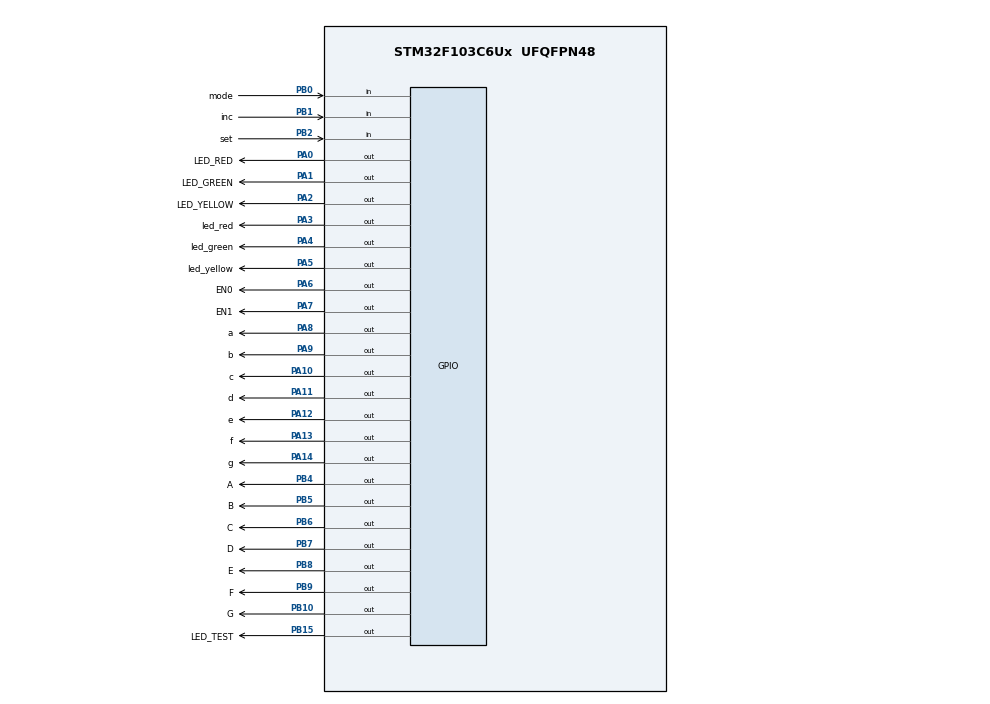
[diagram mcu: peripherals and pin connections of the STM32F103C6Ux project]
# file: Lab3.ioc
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Mcu.Family=STM32F1
Mcu.Name=STM32F103C6Ux
Mcu.Package=UFQFPN48
NVIC.PriorityGroup=NVIC_PRIORITYGROUP_4
NVIC.TIM2_IRQn=true\:0\:0\:false\:false\:true\:true\:true
PA0-WKUP.GPIO_Label=LED_RED
PA0-WKUP.Signal=GPIO_Output
PA1.GPIO_Label=LED_GREEN
PA1.Signal=GPIO_Output
PA10.GPIO_Label=c
PA10.Signal=GPIO_Output
PA11.GPIO_Label=d
PA11.Signal=GPIO_Output
PA12.GPIO_Label=e
PA12.Signal=GPIO_Output
PA13.GPIO_Label=f
PA13.Signal=GPIO_Output
PA14.GPIO_Label=g
PA14.Signal=GPIO_Output
PA2.GPIO_Label=LED_YELLOW
PA2.Signal=GPIO_Output
PA3.GPIO_Label=led_red
PA3.Signal=GPIO_Output
PA4.GPIO_Label=led_green
PA4.Signal=GPIO_Output
PA5.GPIO_Label=led_yellow
PA5.Signal=GPIO_Output
PA6.GPIO_Label=EN0
PA6.Signal=GPIO_Output
PA7.GPIO_Label=EN1
PA7.Signal=GPIO_Output
PA8.GPIO_Label=a
PA8.Signal=GPIO_Output
PA9.GPIO_Label=b
PA9.Signal=GPIO_Output
PB0.GPIO_Label=mode
PB0.GPIO_PuPd=GPIO_PULLUP
PB0.Signal=GPIO_Input
PB1.GPIO_Label=inc
PB1.GPIO_PuPd=GPIO_PULLUP
PB1.Signal=GPIO_Input
PB10.GPIO_Label=G
PB10.Signal=GPIO_Output
PB15.GPIO_Label=LED_TEST
PB15.Signal=GPIO_Output
PB2.GPIO_Label=set
PB2.GPIO_PuPd=GPIO_PULLUP
PB2.Signal=GPIO_Input
PB4.GPIO_Label=A
PB4.Signal=GPIO_Output
PB5.GPIO_Label=B
PB5.Signal=GPIO_Output
PB6.GPIO_Label=C
PB6.Signal=GPIO_Output
PB7.GPIO_Label=D
PB7.Signal=GPIO_Output
PB8.GPIO_Label=E
PB8.Signal=GPIO_Output
PB9.GPIO_Label=F
PB9.Signal=GPIO_Output
ProjectManager.HeapSize=0x200
ProjectManager.StackSize=0x400
ProjectManager.TargetToolchain=STM32CubeIDE
RCC.APB1Freq_Value=8000000
RCC.APB2Freq_Value=8000000
TIM2.Period=9
TIM2.Prescaler=7999
VP_SYS_VS_ND.Mode=No_Debug
VP_TIM2_VS_ClockSourceINT.Mode=Internal
board=custom

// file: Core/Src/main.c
/* USER CODE BEGIN Header */
/**
  ******************************************************************************
  * @file           : main.c
  * @brief          : Main program body
  ******************************************************************************
  * @attention
  *
  * <h2><center>&copy; Copyright (c) 2022 STMicroelectronics.
  * All rights reserved.</center></h2>
  *
  * This software component is licensed by ST under BSD 3-Clause license,
  * the "License"; You may not use this file except in compliance with the
  * License. You may obtain a copy of the License at:
  *                        opensource.org/licenses/BSD-3-Clause
  *
  ******************************************************************************
  */
/* USER CODE END Header */
#include "main.h"

TIM_HandleTypeDef htim2;

void SystemClock_Config(void);
static void MX_GPIO_Init(void);
static void MX_TIM2_Init(void);

int main(void)
{

  /* MCU Configuration--------------------------------------------------------*/

  /* Reset of all peripherals, Initializes the Flash interface and the Systick. */
  HAL_Init();

  /* Configure the system clock */
  SystemClock_Config();

  /* Initialize all configured peripherals */
  MX_GPIO_Init();
  MX_TIM2_Init();
  /* USER CODE BEGIN 2 */
  HAL_TIM_Base_Start_IT(&htim2);
  setTimer(50);
  setSide(50);
  setCount(50);
  setCount2(50);
  /* USER CODE END 2 */

  /* Infinite loop */
  /* USER CODE BEGIN WHILE */
  while (1)
  {
	  fsm_run();
	  segment();
	  auto1_run();
	  auto2_run();
//	  if(timer_flag==1)
//	  {
//		  HAL_GPIO_TogglePin(GPIOB, LED_TEST_Pin);
//		  setTimer(100);
//	  }
/*	  getMODEInput();
	  getINCInput();
	  getSETInput();
	  if(mode_flag==1)
	  {
		  HAL_GPIO_TogglePin(GPIOB, LED_TEST_Pin);
		  mode_flag=0;
	  }
	  if(inc_flag==1)
	  {
		  HAL_GPIO_TogglePin(GPIOB, LED_TEST_Pin);
		  display7SEG_u(num++);
		  inc_flag=0;
	  }
	  if(set_flag==1)
	  {
		  HAL_GPIO_TogglePin(GPIOB, LED_TEST_Pin);
		  set_flag=0;
	  }*/
	 // display7SEG_t(2);
    /* USER CODE END WHILE */

  }
}

void SystemClock_Config(void)
{
  RCC_OscInitTypeDef RCC_OscInitStruct = {0};
  RCC_ClkInitTypeDef RCC_ClkInitStruct = {0};

  /** Initializes the RCC Oscillators according to the specified parameters
  * in the RCC_OscInitTypeDef structure.
  */
  RCC_OscInitStruct.OscillatorType = RCC_OSCILLATORTYPE_HSI;
  RCC_OscInitStruct.HSIState = RCC_HSI_ON;
  RCC_OscInitStruct.HSICalibrationValue = RCC_HSICALIBRATION_DEFAULT;
  RCC_OscInitStruct.PLL.PLLState = RCC_PLL_NONE;
  if (HAL_RCC_OscConfig(&RCC_OscInitStruct) != HAL_OK)
  {
    Error_Handler();
  }
  /** Initializes the CPU, AHB and APB buses clocks
  */
  RCC_ClkInitStruct.ClockType = RCC_CLOCKTYPE_HCLK|RCC_CLOCKTYPE_SYSCLK
                              |RCC_CLOCKTYPE_PCLK1|RCC_CLOCKTYPE_PCLK2;
  RCC_ClkInitStruct.SYSCLKSource = RCC_SYSCLKSOURCE_HSI;
  RCC_ClkInitStruct.AHBCLKDivider = RCC_SYSCLK_DIV1;
  RCC_ClkInitStruct.APB1CLKDivider = RCC_HCLK_DIV1;
  RCC_ClkInitStruct.APB2CLKDivider = RCC_HCLK_DIV1;

  if (HAL_RCC_ClockConfig(&RCC_ClkInitStruct, FLASH_LATENCY_0) != HAL_OK)
  {
    Error_Handler();
  }
}

static void MX_TIM2_Init(void)
{

  TIM_ClockConfigTypeDef sClockSourceConfig = {0};
  TIM_MasterConfigTypeDef sMasterConfig = {0};

  htim2.Instance = TIM2;
  htim2.Init.Prescaler = 799;
  htim2.Init.CounterMode = TIM_COUNTERMODE_UP;
  htim2.Init.Period = 9;
  htim2.Init.ClockDivision = TIM_CLOCKDIVISION_DIV1;
  htim2.Init.AutoReloadPreload = TIM_AUTORELOAD_PRELOAD_DISABLE;
  if (HAL_TIM_Base_Init(&htim2) != HAL_OK)
  {
    Error_Handler();
  }
  sClockSourceConfig.ClockSource = TIM_CLOCKSOURCE_INTERNAL;
  if (HAL_TIM_ConfigClockSource(&htim2, &sClockSourceConfig) != HAL_OK)
  {
    Error_Handler();
  }
  sMasterConfig.MasterOutputTrigger = TIM_TRGO_RESET;
  sMasterConfig.MasterSlaveMode = TIM_MASTERSLAVEMODE_DISABLE;
  if (HAL_TIMEx_MasterConfigSynchronization(&htim2, &sMasterConfig) != HAL_OK)
  {
    Error_Handler();
  }

}

static void MX_GPIO_Init(void)
{
  GPIO_InitTypeDef GPIO_InitStruct = {0};

  /* GPIO Ports Clock Enable */
  __HAL_RCC_GPIOA_CLK_ENABLE();
  __HAL_RCC_GPIOB_CLK_ENABLE();

  /*Configure GPIO pin Output Level */
  HAL_GPIO_WritePin(GPIOA, LED_RED_Pin|LED_GREEN_Pin|LED_YELLOW_Pin|led_red_Pin
                          |led_green_Pin|led_yellow_Pin|EN0_Pin|EN1_Pin
                          |a_Pin|b_Pin|c_Pin|d_Pin
                          |e_Pin|f_Pin|g_Pin, GPIO_PIN_RESET);

  /*Configure GPIO pin Output Level */
  HAL_GPIO_WritePin(GPIOB, G_Pin|LED_TEST_Pin|A_Pin|B_Pin
                          |C_Pin|D_Pin|E_Pin|F_Pin, GPIO_PIN_RESET);

  /*Configure GPIO pins : LED_RED_Pin LED_GREEN_Pin LED_YELLOW_Pin led_red_Pin
                           led_green_Pin led_yellow_Pin EN0_Pin EN1_Pin
                           a_Pin b_Pin c_Pin d_Pin
                           e_Pin f_Pin g_Pin */
  GPIO_InitStruct.Pin = LED_RED_Pin|LED_GREEN_Pin|LED_YELLOW_Pin|led_red_Pin
                          |led_green_Pin|led_yellow_Pin|EN0_Pin|EN1_Pin
                          |a_Pin|b_Pin|c_Pin|d_Pin
                          |e_Pin|f_Pin|g_Pin;
  GPIO_InitStruct.Mode = GPIO_MODE_OUTPUT_PP;
  GPIO_InitStruct.Pull = GPIO_NOPULL;
  GPIO_InitStruct.Speed = GPIO_SPEED_FREQ_LOW;
  HAL_GPIO_Init(GPIOA, &GPIO_InitStruct);

  /*Configure GPIO pins : mode_Pin inc_Pin set_Pin */
  GPIO_InitStruct.Pin = mode_Pin|inc_Pin|set_Pin;
  GPIO_InitStruct.Mode = GPIO_MODE_INPUT;
  GPIO_InitStruct.Pull = GPIO_PULLUP;
  HAL_GPIO_Init(GPIOB, &GPIO_InitStruct);

  /*Configure GPIO pins : G_Pin LED_TEST_Pin A_Pin B_Pin
                           C_Pin D_Pin E_Pin F_Pin */
  GPIO_InitStruct.Pin = G_Pin|LED_TEST_Pin|A_Pin|B_Pin
                          |C_Pin|D_Pin|E_Pin|F_Pin;
  GPIO_InitStruct.Mode = GPIO_MODE_OUTPUT_PP;
  GPIO_InitStruct.Pull = GPIO_NOPULL;
  GPIO_InitStruct.Speed = GPIO_SPEED_FREQ_LOW;
  HAL_GPIO_Init(GPIOB, &GPIO_InitStruct);

}

/* USER CODE BEGIN 4 */
void HAL_TIM_PeriodElapsedCallback(TIM_HandleTypeDef *htim)
{
	timerRun();
	sideRun();
	countRun();
	count2Run();
	getMODEInput();
	getINCInput();
	getSETInput();
}
/* USER CODE END 4 */

void Error_Handler(void)
{
  __disable_irq();
  while (1)
  {
  }
}

/************************ (C) COPYRIGHT STMicroelectronics *****END OF FILE****/
